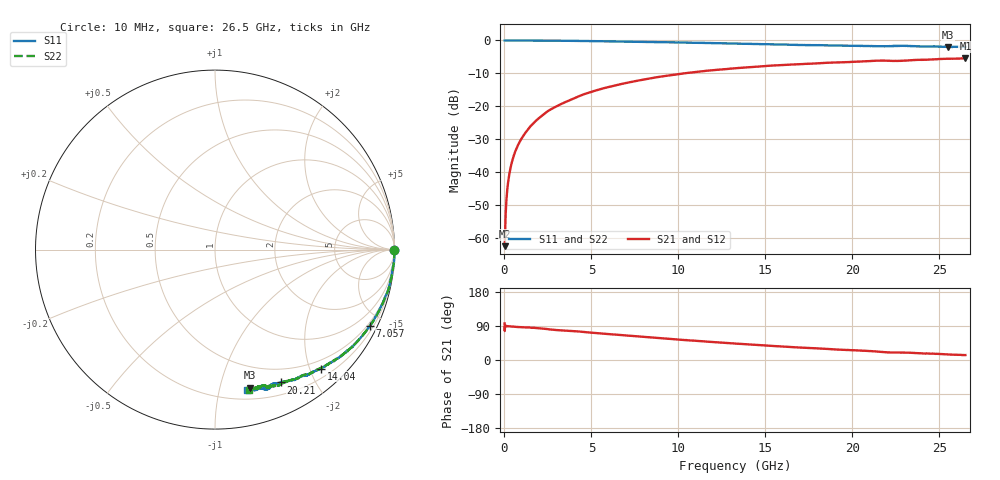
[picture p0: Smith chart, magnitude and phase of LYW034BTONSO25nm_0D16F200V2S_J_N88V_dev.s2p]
!Keysight Technologies,N5222B,MY61253708,A.15.00.15
!Date: Wednesday, June 19, 2024 09:30:35
!Correction: S11(C  2-Port  )
!S21(C  2-Port  )
!S12(C  2-Port  )
!S22(C  2-Port  )
!S2P File: Measurements: S11, S21, S12, S22:
# Hz S  RI  R 50
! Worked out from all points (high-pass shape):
!   2651 points, 10 MHz to 26.5 GHz, reference 50 ohm
!   highest |S21| = -5.38 dB at 26.5 GHz (marker M1); lowest = -62.4 dB at 10 MHz (marker M2)
!   |S21| within 3 dB of the highest: 13.39 GHz to end of sweep
!   lowest |S11| = -2.0 dB at 25.5 GHz (marker M3), VSWR 8.69, Z = 15 - j62.2 ohm
!   |S11| at or under -10 dB: nowhere
!   |S22| runs from -2.0 to 0.0 dB; largest |S21 - S12| = 0.0069
!   S11 on the Smith chart (normalised r, x): 10 MHz: open; 7.057 GHz: 0.37, -4.28; 14.04 GHz: 0.35, -2.19; 20.21 GHz: 0.33, -1.56; 26.5 GHz: 0.28, -1.22
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1e7  0.9987 -0.00246  -8.64e-05 0.000756  -0.00043 9.29e-05  0.9985 -0.00118
7.997358e7  0.9999 -0.00571  3.11e-05 0.00264  2.52e-05 0.00269  0.9993 -0.00537
1.699396e8  0.9999 -0.0119  7.12e-05 0.00569  6.33e-05 0.00576  0.9996 -0.0113
2.199208e8  0.9998 -0.0153  0.000117 0.00735  0.00014 0.00743  0.9993 -0.0145
2.798981e8  0.9998 -0.0193  0.00017 0.00933  0.000204 0.00948  0.9997 -0.0187
3.898566e8  0.9995 -0.027  0.000384 0.013  0.000382 0.0131  0.9992 -0.0261
5.198075e8  0.999 -0.0351  0.000596 0.0173  0.000595 0.0175  0.9992 -0.0347
6.797472e8  0.9984 -0.0456  0.00101 0.0226  0.00101 0.0228  0.9985 -0.0453
8.796717e8  0.9978 -0.0591  0.0017 0.0291  0.00172 0.0294  0.9972 -0.0586
1.489442e9  0.9901 -0.1007  0.00416 0.0496  0.00419 0.05  0.9929 -0.0979
2.349117e9  0.9813 -0.1541  0.0104 0.0791  0.0107 0.0797  0.9825 -0.1548
3.208792e9  0.9697 -0.2092  0.0216 0.1049  0.0219 0.1056  0.9695 -0.2091
4.428332e9  0.9413 -0.2823  0.0393 0.1427  0.0397 0.1437  0.9424 -0.2805
7.05734e9  0.8643 -0.4234  0.0983 0.2059  0.1 0.2068  0.8652 -0.4227
8.846664e9  0.7998 -0.5039  0.1471 0.2375  0.1489 0.2382  0.8 -0.5033
1.3255e10  0.6226 -0.6427  0.275 0.2605  0.2777 0.2602  0.6243 -0.6421
1.40447e10  0.5911 -0.6632  0.2962 0.2581  0.2981 0.2576  0.593 -0.6574
1.767333e10  0.4501 -0.7204  0.3808 0.2315  0.3846 0.2297  0.4582 -0.7182
2.021237e10  0.3673 -0.7404  0.4307 0.2046  0.4327 0.2012  0.3781 -0.7401
2.209166e10  0.3155 -0.7519  0.4625 0.1689  0.4646 0.1656  0.307 -0.7579
2.550038e10  0.1971 -0.7688  0.5108 0.1321  0.5125 0.1315  0.2152 -0.7712
2.65e10  0.1781 -0.7833  0.5243 0.121  0.5239 0.1168  0.189 -0.7809
